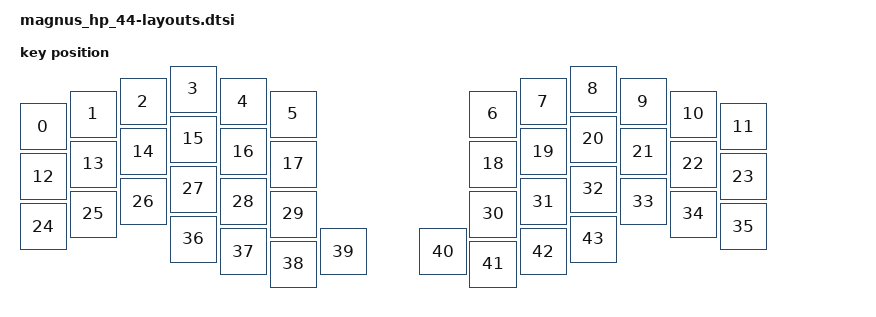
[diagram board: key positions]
#include <physical_layouts.dtsi>

/ {
    physical_layout0: physical_layout_0 {
        compatible = "zmk,physical-layout";
        display-name = "Magnus HP-44";

        zephyr,display = &oled;

        kscan = <&kscan0>;
        transform = <&default_transform>;

        keys  //                     w   h    x    y     rot    rx    ry
            = <&key_physical_attrs 100 100    0   75       0     0     0>
            , <&key_physical_attrs 100 100  100   50       0     0     0>
            , <&key_physical_attrs 100 100  200   25       0     0     0>
            , <&key_physical_attrs 100 100  300    0       0     0     0>
            , <&key_physical_attrs 100 100  400   25       0     0     0>
            , <&key_physical_attrs 100 100  500   50       0     0     0>
            , <&key_physical_attrs 100 100  900   50       0     0     0>
            , <&key_physical_attrs 100 100 1000   25       0     0     0>
            , <&key_physical_attrs 100 100 1100    0       0     0     0>
            , <&key_physical_attrs 100 100 1200   25       0     0     0>
            , <&key_physical_attrs 100 100 1300   50       0     0     0>
            , <&key_physical_attrs 100 100 1400   75       0     0     0>
            , <&key_physical_attrs 100 100    0  175       0     0     0>
            , <&key_physical_attrs 100 100  100  150       0     0     0>
            , <&key_physical_attrs 100 100  200  125       0     0     0>
            , <&key_physical_attrs 100 100  300  100       0     0     0>
            , <&key_physical_attrs 100 100  400  125       0     0     0>
            , <&key_physical_attrs 100 100  500  150       0     0     0>
            , <&key_physical_attrs 100 100  900  150       0     0     0>
            , <&key_physical_attrs 100 100 1000  125       0     0     0>
            , <&key_physical_attrs 100 100 1100  100       0     0     0>
            , <&key_physical_attrs 100 100 1200  125       0     0     0>
            , <&key_physical_attrs 100 100 1300  150       0     0     0>
            , <&key_physical_attrs 100 100 1400  175       0     0     0>
            , <&key_physical_attrs 100 100    0  275       0     0     0>
            , <&key_physical_attrs 100 100  100  250       0     0     0>
            , <&key_physical_attrs 100 100  200  225       0     0     0>
            , <&key_physical_attrs 100 100  300  200       0     0     0>
            , <&key_physical_attrs 100 100  400  225       0     0     0>
            , <&key_physical_attrs 100 100  500  250       0     0     0>
            , <&key_physical_attrs 100 100  900  250       0     0     0>
            , <&key_physical_attrs 100 100 1000  225       0     0     0>
            , <&key_physical_attrs 100 100 1100  200       0     0     0>
            , <&key_physical_attrs 100 100 1200  225       0     0     0>
            , <&key_physical_attrs 100 100 1300  250       0     0     0>
            , <&key_physical_attrs 100 100 1400  275       0     0     0>
            , <&key_physical_attrs 100 100  300  300       0     0     0>
            , <&key_physical_attrs 100 100  400  325       0     0     0>
            , <&key_physical_attrs 100 100  500  350       0     0     0>
            , <&key_physical_attrs 100 100  600  325       0     0     0>
            , <&key_physical_attrs 100 100  800  325       0     0     0>
            , <&key_physical_attrs 100 100  900  350       0     0     0>
            , <&key_physical_attrs 100 100 1000  325       0     0     0>
            , <&key_physical_attrs 100 100 1100  300       0     0     0>
            ;
    };
};
